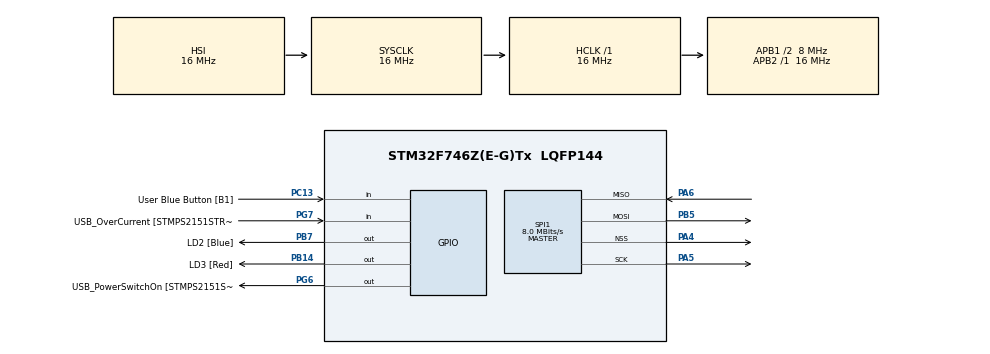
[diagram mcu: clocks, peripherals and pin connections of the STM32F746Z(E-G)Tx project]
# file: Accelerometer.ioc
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Dma.Request0=SPI1_RX
Dma.SPI1_RX.0.Direction=DMA_PERIPH_TO_MEMORY
Dma.SPI1_RX.0.FIFOMode=DMA_FIFOMODE_DISABLE
Dma.SPI1_RX.0.Instance=DMA2_Stream0
Dma.SPI1_RX.0.MemDataAlignment=DMA_MDATAALIGN_BYTE
Dma.SPI1_RX.0.MemInc=DMA_MINC_ENABLE
Dma.SPI1_RX.0.Mode=DMA_CIRCULAR
Dma.SPI1_RX.0.PeriphDataAlignment=DMA_PDATAALIGN_BYTE
Dma.SPI1_RX.0.PeriphInc=DMA_PINC_DISABLE
Dma.SPI1_RX.0.Priority=DMA_PRIORITY_LOW
Mcu.Family=STM32F7
Mcu.Name=STM32F746Z(E-G)Tx
Mcu.Package=LQFP144
NVIC.DMA2_Stream0_IRQn=true\:0\:0\:false\:false\:true
NVIC.PriorityGroup=NVIC_PRIORITYGROUP_4
PA1.GPIO_Label=RMII_REF_CLK [LAN8742A-CZ-TR_REFCLK0]
PA1.Signal=ETH_REF_CLK
PA10.GPIO_Label=USB_ID
PA10.Signal=USB_OTG_FS_ID
PA11.GPIO_Label=USB_DM
PA11.Signal=USB_OTG_FS_DM
PA12.GPIO_Label=USB_DP
PA12.Signal=USB_OTG_FS_DP
PA13.GPIO_Label=TMS
PA13.Signal=SYS_JTMS-SWDIO
PA14.GPIO_Label=TCK
PA14.Signal=SYS_JTCK-SWCLK
PA2.GPIO_Label=RMII_MDIO [LAN8742A-CZ-TR_MDIO]
PA2.Signal=ETH_MDIO
PA4.GPIO_PuPd=GPIO_PULLUP
PA4.Mode=NSS_Signal_Hard_Output
PA4.Signal=SPI1_NSS
PA5.GPIO_PuPd=GPIO_PULLDOWN
PA5.Mode=Full_Duplex_Master
PA5.Signal=SPI1_SCK
PA6.Mode=Full_Duplex_Master
PA6.Signal=SPI1_MISO
PA7.GPIO_Label=RMII_CRS_DV [LAN8742A-CZ-TR_CRS_DV]
PA7.Signal=ETH_CRS_DV
PA8.GPIO_Label=USB_SOF [TP1]
PA8.Signal=USB_OTG_FS_SOF
PA9.GPIO_Label=USB_VBUS
PA9.Signal=USB_OTG_FS_VBUS
PB13.GPIO_Label=RMII_TXD1 [LAN8742A-CZ-TR_TXD1]
PB13.Signal=ETH_TXD1
PB14.GPIO_Label=LD3 [Red]
PB14.Signal=GPIO_Output
PB3.GPIO_Label=SW0
PB3.Signal=SYS_JTDO-SWO
PB5.Mode=Full_Duplex_Master
PB5.Signal=SPI1_MOSI
PB7.GPIO_Label=LD2 [Blue]
PB7.Signal=GPIO_Output
PC1.GPIO_Label=RMII_MDC [LAN8742A-CZ-TR_MDC]
PC1.Signal=ETH_MDC
PC13.GPIO_Label=User Blue Button [B1]
PC13.Signal=GPIO_Input
PC14/OSC32_IN.Signal=RCC_OSC32_IN
PC15/OSC32_OUT.Signal=RCC_OSC32_OUT
PC4.GPIO_Label=RMII_RXD0 [LAN8742A-CZ-TR_RXD0]
PC4.Signal=ETH_RXD0
PC5.GPIO_Label=RMII_RXD1 [LAN8742A-CZ-TR_RXD1]
PC5.Signal=ETH_RXD1
PD8.GPIO_Label=STLK_RX [STM32F103CBT6_PA3]
PD8.Signal=USART3_TX
PD9.GPIO_Label=STLK_TX [STM32F103CBT6_PA2]
PD9.Signal=USART3_RX
PG11.GPIO_Label=RMII_TX_EN [LAN8742A-CZ-TR_TXEN]
PG11.Signal=ETH_TX_EN
PG13.GPIO_Label=RMII_TXD0 [LAN8742A-CZ-TR_TXD0]
PG13.Signal=ETH_TXD0
PG6.GPIO_Label=USB_PowerSwitchOn [STMPS2151STR_EN]
PG6.Signal=GPIO_Output
PG7.GPIO_Label=USB_OverCurrent [STMPS2151STR_FAULT]
PG7.Signal=GPIO_Input
PH0/OSC_IN.GPIO_Label=MCO [STM32F103CBT6_PA8]
PH0/OSC_IN.Signal=RCC_OSC_IN
PH1/OSC_OUT.Signal=RCC_OSC_OUT
ProjectManager.HeapSize=0x200
ProjectManager.StackSize=0x400
ProjectManager.TargetToolchain=MDK-ARM V5
RCC.48MHZClocksFreq_Value=24000000
RCC.AHBFreq_Value=16000000
RCC.APB1CLKDivider=RCC_HCLK_DIV2
RCC.APB1Freq_Value=8000000
RCC.APB1TimFreq_Value=16000000
RCC.APB2Freq_Value=16000000
RCC.APB2TimFreq_Value=16000000
RCC.CortexFreq_Value=16000000
RCC.HCLKFreq_Value=16000000
RCC.HSE_VALUE=16000000
RCC.HSI_VALUE=16000000
RCC.LSE_VALUE=32768
RCC.PLLMUL=RCC_PLL_MUL9
RCC.PRESCALERUSB=RCC_USBCLKSOURCE_PLL_DIV1_5
RCC.SYSCLKFreq_VALUE=16000000
RCC.SYSCLKSourceVirtual=RCC_SYSCLKSOURCE_PLLCLK
RCC.USBFreq_Value=96000000
RCC.VCOOutputFreq_Value=192000000
SPI1.CalculateBaudRate=8.0 MBits/s
SPI1.DataSize=SPI_DATASIZE_8BIT
SPI1.Mode=SPI_MODE_MASTER
SPI1.VirtualNSS=VM_NSSHARD
board=NUCLEO-F746ZG

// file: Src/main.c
/**
  ******************************************************************************
  * File Name          : main.c
  * Description        : Main program body
  ******************************************************************************
  *
  * COPYRIGHT(c) 2016 STMicroelectronics
  *
  * Redistribution and use in source and binary forms, with or without modification,
  * are permitted provided that the following conditions are met:
  *   1. Redistributions of source code must retain the above copyright notice,
  *      this list of conditions and the following disclaimer.
  *   2. Redistributions in binary form must reproduce the above copyright notice,
  *      this list of conditions and the following disclaimer in the documentation
  *      and/or other materials provided with the distribution.
  *   3. Neither the name of STMicroelectronics nor the names of its contributors
  *      may be used to endorse or promote products derived from this software
  *      without specific prior written permission.
  *
  * THIS SOFTWARE IS PROVIDED BY THE COPYRIGHT HOLDERS AND CONTRIBUTORS "AS IS"
  * AND ANY EXPRESS OR IMPLIED WARRANTIES, INCLUDING, BUT NOT LIMITED TO, THE
  * IMPLIED WARRANTIES OF MERCHANTABILITY AND FITNESS FOR A PARTICULAR PURPOSE ARE
  * DISCLAIMED. IN NO EVENT SHALL THE COPYRIGHT HOLDER OR CONTRIBUTORS BE LIABLE
  * FOR ANY DIRECT, INDIRECT, INCIDENTAL, SPECIAL, EXEMPLARY, OR CONSEQUENTIAL
  * DAMAGES (INCLUDING, BUT NOT LIMITED TO, PROCUREMENT OF SUBSTITUTE GOODS OR
  * SERVICES; LOSS OF USE, DATA, OR PROFITS; OR BUSINESS INTERRUPTION) HOWEVER
  * CAUSED AND ON ANY THEORY OF LIABILITY, WHETHER IN CONTRACT, STRICT LIABILITY,
  * OR TORT (INCLUDING NEGLIGENCE OR OTHERWISE) ARISING IN ANY WAY OUT OF THE USE
  * OF THIS SOFTWARE, EVEN IF ADVISED OF THE POSSIBILITY OF SUCH DAMAGE.
  *
  ******************************************************************************
  */
#include "main.h"
#include "stm32f7xx_hal.h"
#include "dma.h"
#include "spi.h"
#include "gpio.h"

/* USER CODE BEGIN Includes */
//#include "stm32f7xx_it.h"

/* USER CODE END Includes */

/* USER CODE BEGIN PV */
/* Private variables ---------------------------------------------------------*/
# define ACCEL_XOUT_H ((uint8_t) 0x3b)
# define ACCEL_YOUT_H ((uint8_t) 0x3d)
# define ACCEL_ZOUT_H ((uint8_t) 0x3f)

uint16_t xaccel, yaccel, zaccel;
volatile int isTransferCompleted = 0;
/* USER CODE END PV */

void SystemClock_Config(void);
void Error_Handler(void);

/* USER CODE BEGIN PFP */
/* Private function prototypes -----------------------------------------------*/

/* USER CODE END PFP */

/* USER CODE BEGIN 0 */

//Function to transmit data using SPI
void SpiWrite(uint8_t address, uint8_t data){

	//Set CS LOW to enable communication
	HAL_GPIO_WritePin(GPIOA, GPIO_PIN_4, GPIO_PIN_RESET);

	// Transmit data
	HAL_SPI_Transmit(&hspi1, &address, 1, 50);
	HAL_SPI_Transmit(&hspi1, &data, 1, 50);

	//Set CS HIGH to disable communication
	HAL_GPIO_WritePin(GPIOA, GPIO_PIN_4, GPIO_PIN_SET);
}

//Function to receive data using SPI
uint8_t SpiRead(uint8_t address){
		uint8_t data;

		//Set CS LOW to enable communication
		HAL_GPIO_WritePin(GPIOA, GPIO_PIN_4, GPIO_PIN_RESET);

		address += 0x80;

		// Transmit address
		HAL_SPI_Transmit(&hspi1, &address, 1, 50);

		//Receive data
		HAL_SPI_Receive(&hspi1, &data, 1, 50);

		//Set CS HIGH to disable communication
		HAL_GPIO_WritePin(GPIOA, GPIO_PIN_4, GPIO_PIN_SET);

		return data;
}

//Function to receive data using SPI
uint8_t SpiRead_DMA(uint8_t address){

		uint8_t data;

		//Set CS LOW to enable communication
		HAL_GPIO_WritePin(GPIOA, GPIO_PIN_4, GPIO_PIN_RESET);

		address += 0x80;

		// Transmit address
		HAL_SPI_Transmit(&hspi1, &address, 1, 50);

		//Receive data
		while(!isTransferCompleted);
		HAL_SPI_Receive_DMA(&hspi1, &data, 1);

		//Set CS HIGH to disable communication
		HAL_GPIO_WritePin(GPIOA, GPIO_PIN_4, GPIO_PIN_SET);

		return data;
}

void printAccelData(){

	xaccel = (SpiRead(ACCEL_XOUT_H) << 8) + SpiRead(ACCEL_XOUT_H+1);
	yaccel = (SpiRead(ACCEL_YOUT_H) << 8) + SpiRead(ACCEL_YOUT_H+1);
  zaccel = (SpiRead(ACCEL_ZOUT_H) << 8) + SpiRead(ACCEL_ZOUT_H+1);
	printf("X accel = %d, Y accel = %d, Z accel = %d", xaccel, yaccel, zaccel);

}

void printAccelData_DMA(){

	xaccel = (SpiRead_DMA(ACCEL_XOUT_H) << 8) + SpiRead_DMA(ACCEL_XOUT_H+1);
	yaccel = (SpiRead_DMA(ACCEL_YOUT_H) << 8) + SpiRead_DMA(ACCEL_YOUT_H+1);
  zaccel = (SpiRead_DMA(ACCEL_ZOUT_H) << 8) + SpiRead_DMA(ACCEL_ZOUT_H+1);
	printf("X accel = %d, Y accel = %d, Z accel = %d", xaccel, yaccel, zaccel);

}
/* USER CODE END 0 */

int main(void)
{

  /* MCU Configuration----------------------------------------------------------*/

  /* Reset of all peripherals, Initializes the Flash interface and the Systick. */
  HAL_Init();

  /* Configure the system clock */
  SystemClock_Config();

  /* Initialize all configured peripherals */
  MX_GPIO_Init();
  MX_DMA_Init();
  MX_SPI1_Init();

  /* USER CODE BEGIN 2 */
	isTransferCompleted = 0;
	xaccel = (SpiRead_DMA(ACCEL_XOUT_H) << 8) + SpiRead_DMA(ACCEL_XOUT_H+1);
	yaccel = (SpiRead_DMA(ACCEL_YOUT_H) << 8) + SpiRead_DMA(ACCEL_YOUT_H+1);
  zaccel = (SpiRead_DMA(ACCEL_ZOUT_H) << 8) + SpiRead_DMA(ACCEL_ZOUT_H+1);
	printf("X accel = %d, Y accel = %d, Z accel = %d", xaccel, yaccel, zaccel);
  /* USER CODE END 2 */

  /* Infinite loop */
  /* USER CODE BEGIN WHILE */
  while (1)
  {
		//printAccelData();

		printAccelData_DMA();

  /* USER CODE END WHILE */

  }

}

/** System Clock Configuration
*/
void SystemClock_Config(void)
{

  RCC_OscInitTypeDef RCC_OscInitStruct;
  RCC_ClkInitTypeDef RCC_ClkInitStruct;

    /**Configure the main internal regulator output voltage
    */
  __HAL_RCC_PWR_CLK_ENABLE();

  __HAL_PWR_VOLTAGESCALING_CONFIG(PWR_REGULATOR_VOLTAGE_SCALE3);

    /**Initializes the CPU, AHB and APB busses clocks
    */
  RCC_OscInitStruct.OscillatorType = RCC_OSCILLATORTYPE_HSI;
  RCC_OscInitStruct.HSIState = RCC_HSI_ON;
  RCC_OscInitStruct.HSICalibrationValue = 16;
  RCC_OscInitStruct.PLL.PLLState = RCC_PLL_NONE;
  if (HAL_RCC_OscConfig(&RCC_OscInitStruct) != HAL_OK)
  {
    Error_Handler();
  }

    /**Initializes the CPU, AHB and APB busses clocks
    */
  RCC_ClkInitStruct.ClockType = RCC_CLOCKTYPE_HCLK|RCC_CLOCKTYPE_SYSCLK
                              |RCC_CLOCKTYPE_PCLK1|RCC_CLOCKTYPE_PCLK2;
  RCC_ClkInitStruct.SYSCLKSource = RCC_SYSCLKSOURCE_HSI;
  RCC_ClkInitStruct.AHBCLKDivider = RCC_SYSCLK_DIV1;
  RCC_ClkInitStruct.APB1CLKDivider = RCC_HCLK_DIV2;
  RCC_ClkInitStruct.APB2CLKDivider = RCC_HCLK_DIV1;

  if (HAL_RCC_ClockConfig(&RCC_ClkInitStruct, FLASH_LATENCY_0) != HAL_OK)
  {
    Error_Handler();
  }

    /**Configure the Systick interrupt time
    */
  HAL_SYSTICK_Config(HAL_RCC_GetHCLKFreq()/1000);

    /**Configure the Systick
    */
  HAL_SYSTICK_CLKSourceConfig(SYSTICK_CLKSOURCE_HCLK);

  /* SysTick_IRQn interrupt configuration */
  HAL_NVIC_SetPriority(SysTick_IRQn, 0, 0);
}

void Error_Handler(void)
{
  while(1)
  {
  }
}

/************************ (C) COPYRIGHT STMicroelectronics *****END OF FILE****/
